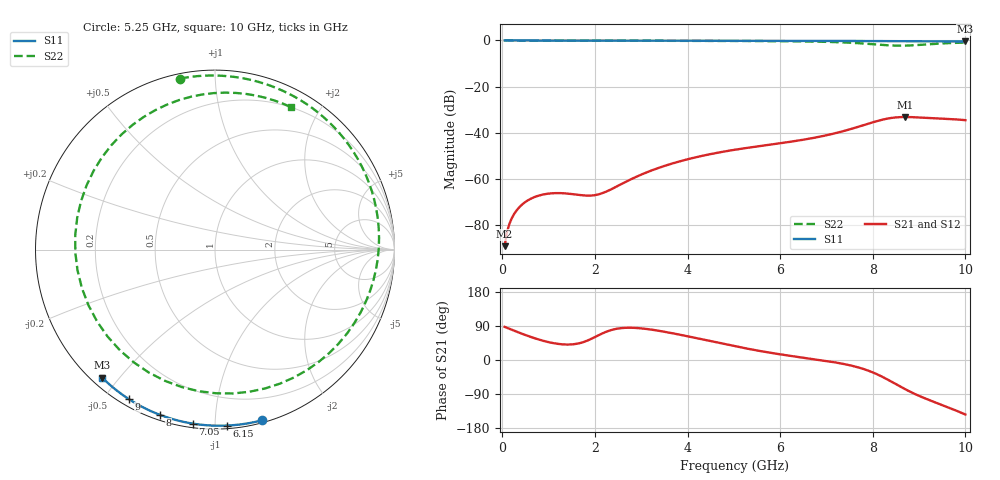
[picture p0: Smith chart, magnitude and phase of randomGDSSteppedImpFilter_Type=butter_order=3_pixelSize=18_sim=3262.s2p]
! freq	dB(S11)	phase(S11)	dB(S12)	phase(S12)
!  dB(S21)	phase(S21)	dB(S22)	phase(S22)
!S-par simulation data
#  GHz  S  DB  R 50
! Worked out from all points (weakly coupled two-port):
!   200 points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, 50 MHz to 10 GHz, reference 50 ohm
!   highest |S21| = -33.19 dB at 8.7 GHz (marker M1); lowest = -89.2 dB at 50 MHz (marker M2)
!   lowest |S11| = -0.4 dB at 10 GHz (marker M3), VSWR 39.73, Z = 1.52 - j22.6 ohm
!   |S11| at or under -10 dB: nowhere
!   |S22| runs from -2.3 to 0.0 dB; largest |S21 - S12| = 0
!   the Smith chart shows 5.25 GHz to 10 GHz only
!   S11 on the Smith chart (normalised r, x): 5.25 GHz: 0.02, -1.31; 6.15 GHz: 0.02, -1.07; 7.05 GHz: 0.02, -0.88; 8 GHz: 0.02, -0.72; 9 GHz: 0.03, -0.58; 10 GHz: 0.03, -0.45
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0.05  -0.00 -0.8  -89.21 87.5  -89.21 87.5  -0.00 -4.3
0.15  -0.00 -2.3  -79.73 82.5  -79.73 82.5  -0.02 -12.9
0.45  -0.01 -6.8  -70.78 68.1  -70.78 68.1  -0.05 -37.9
0.85  -0.02 -12.8  -66.95 51.8  -66.95 51.8  -0.08 -68.7
1.25  -0.02 -18.8  -66.20 41.8  -66.20 41.8  -0.10 -95.5
1.75  -0.03 -26.2  -67.19 47.2  -67.19 47.2  -0.12 -123.8
2.5  -0.05 -37.1  -63.03 83.1  -63.03 83.1  -0.13 -158.3
3.4  -0.07 -49.9  -55.10 76.7  -55.10 76.7  -0.15 167.3
4.2  -0.09 -60.9  -50.56 57.5  -50.56 57.5  -0.18 139.2
5.05  -0.11 -72.2  -47.30 35.7  -47.30 35.7  -0.23 108.9
5.25  -0.12 -74.8  -46.69 30.9  -46.69 30.9  -0.24 101.5
6.15  -0.15 -86.2  -44.15 12.2  -44.15 12.2  -0.34 64.8
6.7  -0.18 -93.0  -42.34 2.6  -42.34 2.6  -0.48 37.8
7.05  -0.20 -97.2  -40.89 -3.6  -40.89 -3.6  -0.63 17.5
7.55  -0.23 -103.2  -38.27 -15.2  -38.27 -15.2  -1.02 -19.0
8  -0.26 -108.5  -35.50 -32.7  -35.50 -32.7  -1.62 -64.2
8.35  -0.29 -112.6  -33.77 -53.6  -33.77 -53.6  -2.13 -110.8
8.7  -0.32 -116.6  -33.19 -77.1  -33.19 -77.1  -2.25 -163.9
9  -0.34 -120.0  -33.40 -94.7  -33.40 -94.7  -1.94 153.4
9.2  -0.36 -122.3  -33.62 -104.8  -33.62 -104.8  -1.66 129.1
9.45  -0.38 -125.1  -33.87 -116.6  -33.87 -116.6  -1.34 103.5
10  -0.44 -131.3  -34.58 -143.8  -34.58 -143.8  -0.92 61.7
